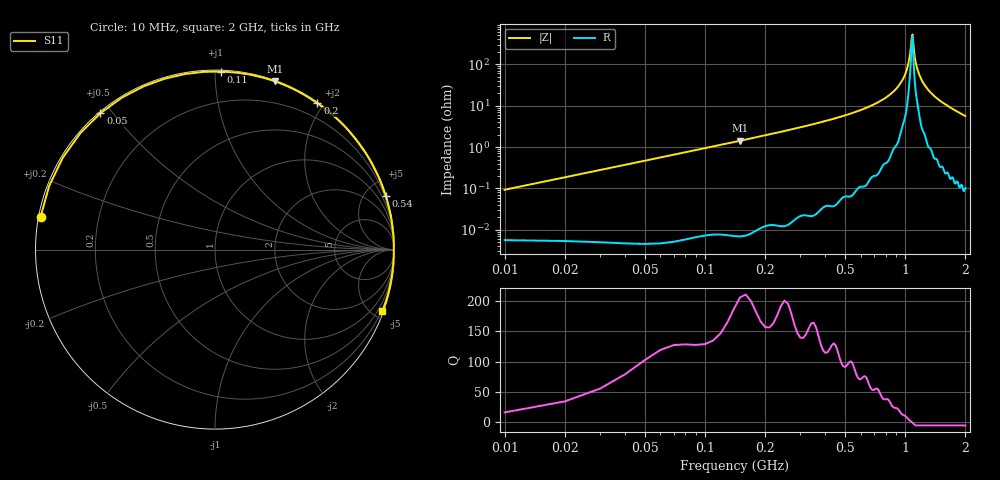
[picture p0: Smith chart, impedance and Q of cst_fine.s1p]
! H_s8_cap_5: PDN loop: BGA pin field to a 0402 capacitor 5 mm away
! stackup: 8-layer 1.6 mm FR-4 (generic)
! ports: 1 IC pins
! CST Studio Suite 2025.5 Release from 2025-05-30, time domain (FIT, hexahedral, PBA), 290016 mesh cells, 246 s
! mesh: {'lpw': 30.0, 'lpb': 30.0, 'minstep': 0.0, 'ratio': 20}; ports: port 1 (edge)
! interpolated from CST's 1001 samples to the case grid
# Hz S RI R 1
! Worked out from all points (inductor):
!   200 points, 10 MHz to 2 GHz, reference 1 ohm
!   read as one part to ground: L = 1.48 nH near 20 MHz
!   highest Q = 200 at 150 MHz (marker M1), where L = 1.51 nH
!   self-resonance near 1.08 GHz
!   S11 on the Smith chart (normalised r, x): 10 MHz: 0.01, +0.09; 50 MHz: 0.00, +0.47; 110 MHz: 0.01, +1.03; 200 MHz: 0.01, +1.92; 540 MHz: 0.07, +6.55; 2 GHz: 0.10, -5.60
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1e7  -0.9721 0.1817
2e7  -0.9239 0.3548
3e7  -0.8481 0.5122
4e7  -0.7507 0.6482
5e7  -0.6386 0.7598
6e7  -0.5188 0.8465
7e7  -0.3975 0.9098
8e7  -0.2793 0.9524
9e7  -0.1675 0.9781
1.1e8  0.032 0.9921
1.3e8  0.1985 0.9741
1.5e8  0.3353 0.9373
1.7e8  0.4458 0.8902
2e8  0.5707 0.8148
2.3e8  0.6624 0.7435
2.6e8  0.7318 0.6764
3e8  0.797 0.5968
3.6e8  0.8633 0.4983
4.3e8  0.9098 0.4071
5.1e8  0.9423 0.3243
5.4e8  0.9516 0.2976
6.5e8  0.9735 0.2148
7.6e8  0.9855 0.1483
1.01e9  0.9963 0.0306
1.26e9  0.9938 -0.0659
1.51e9  0.9835 -0.1563
1.76e9  0.9644 -0.2472
2e9  0.9324 -0.3437
